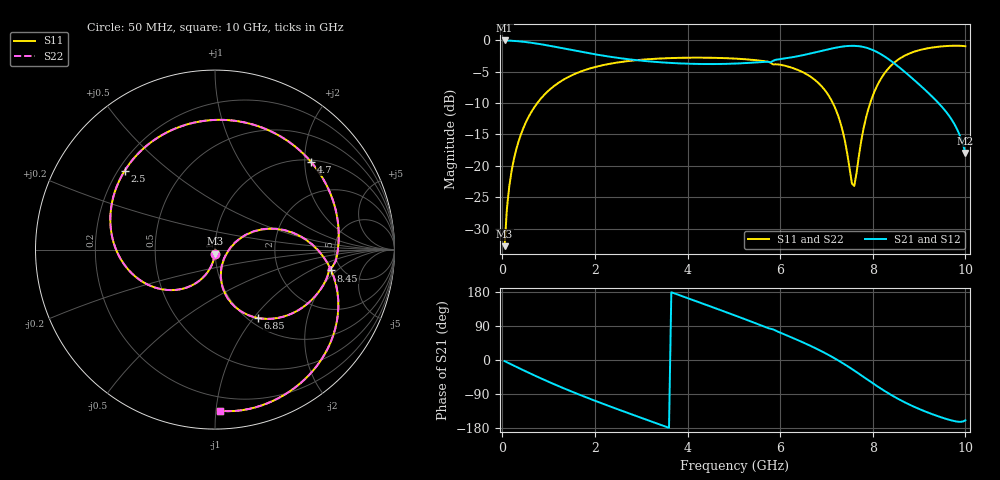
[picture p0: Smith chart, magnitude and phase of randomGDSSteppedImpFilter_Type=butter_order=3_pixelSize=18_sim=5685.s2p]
! freq	dB(S11)	phase(S11)	dB(S12)	phase(S12)
!  dB(S21)	phase(S21)	dB(S22)	phase(S22)
!S-par simulation data
#  GHz  S  DB  R 50
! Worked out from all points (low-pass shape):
!   200 points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, 50 MHz to 10 GHz, reference 50 ohm
!   highest |S21| = -0.01 dB at 50 MHz (marker M1); lowest = -17.9 dB at 10 GHz (marker M2)
!   |S21| within 3 dB of the highest: start of sweep to 2.732 GHz; 5.983 GHz to 8.345 GHz (2.361 GHz wide, 33 % of centre)
!   lowest |S11| = -32.8 dB at 50 MHz (marker M3), VSWR 1.05, Z = 49.8 - j2.28 ohm
!   |S11| at or under -10 dB: start of sweep to 755.2 MHz; 7.138 GHz to 7.944 GHz (806 MHz wide, 10.7 % of centre)
!   |S22| runs from -32.8 to -0.8 dB; largest |S21 - S12| = 0
!   S11 on the Smith chart (normalised r, x): 50 MHz: 1.00, -0.05; 2.5 GHz: 0.23, +0.36; 4.7 GHz: 1.05, +2.15; 6.85 GHz: 1.10, -1.05; 8.45 GHz: 4.12, -1.68; 10 GHz: 0.11, -1.02
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0.05  -32.80 -93.0  -0.01 -3.0  -0.01 -3.0  -32.80 -93.0
0.1  -26.80 -96.2  -0.02 -6.0  -0.02 -6.0  -26.80 -96.2
0.2  -20.85 -102.4  -0.05 -12.0  -0.05 -12.0  -20.85 -102.4
0.5  -13.21 -120.1  -0.25 -29.6  -0.25 -29.6  -13.21 -120.1
1.1  -7.38 -153.5  -0.96 -62.9  -0.96 -62.9  -7.38 -153.5
1.75  -4.81 173.7  -1.88 -95.6  -1.88 -95.6  -4.81 173.7
2.5  -3.51 139.0  -2.79 -130.4  -2.79 -130.4  -3.51 139.0
3.4  -2.89 99.3  -3.48 -170.2  -3.48 -170.2  -2.89 99.3
4.05  -2.75 70.9  -3.72 161.2  -3.72 161.2  -2.75 70.9
4.7  -2.80 42.4  -3.76 132.2  -3.76 132.2  -2.80 42.3
5.05  -2.91 26.9  -3.69 116.4  -3.69 116.4  -2.91 26.9
5.75  -3.42 -5.5  -3.43 83.7  -3.43 83.7  -3.41 -5.6
6.7  -6.01 -50.2  -2.01 34.8  -2.01 34.8  -6.01 -50.3
6.85  -6.96 -58.0  -1.75 25.8  -1.75 25.8  -6.97 -58.1
7.25  -11.96 -77.0  -1.09 -0.8  -1.09 -0.8  -11.97 -77.2
7.6  -23.21 -16.5  -0.87 -27.9  -0.87 -27.9  -23.37 -16.3
7.9  -11.05 23.4  -1.25 -52.9  -1.25 -52.9  -11.06 23.7
8.35  -4.37 -3.8  -3.04 -88.8  -3.04 -88.8  -4.37 -3.6
8.45  -3.64 -10.2  -3.58 -96.0  -3.58 -96.0  -3.64 -10.1
9.1  -1.38 -46.1  -7.68 -134.2  -7.68 -134.2  -1.38 -46.1
9.7  -0.85 -73.5  -12.58 -159.5  -12.58 -159.5  -0.85 -73.4
10  -0.93 -88.4  -17.94 -159.3  -17.94 -159.3  -0.94 -88.4
